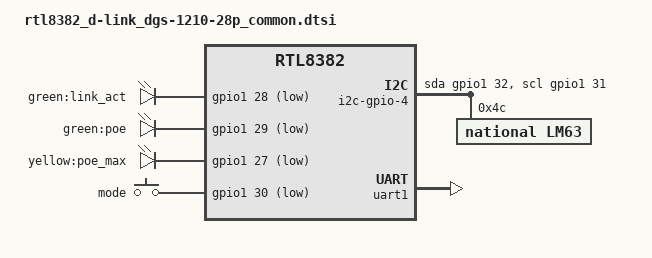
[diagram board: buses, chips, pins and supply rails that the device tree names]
// SPDX-License-Identifier: GPL-2.0-or-later OR MIT

/ {
	/* LM63 */
	i2c-gpio-4 {
		compatible = "i2c-gpio";
		sda-gpios = <&gpio1 32 (GPIO_ACTIVE_HIGH | GPIO_OPEN_DRAIN)>;
		scl-gpios = <&gpio1 31 GPIO_ACTIVE_HIGH>;
		i2c-gpio,delay-us = <2>;
		i2c-gpio,scl-open-drain; /* should be replaced by i2c-gpio,scl-has-no-pullup in kernel 6.6 */
		#address-cells = <1>;
		#size-cells = <0>;

		lm63@4c {
			compatible = "national,lm63";
			reg = <0x4c>;
		};
	};
};

&leds {
	link_act {
		label = "green:link_act";
		gpios = <&gpio1 28 GPIO_ACTIVE_LOW>;
	};

	poe {
		label = "green:poe";
		gpios = <&gpio1 29 GPIO_ACTIVE_LOW>;
	};

	poe_max {
		label = "yellow:poe_max";
		gpios = <&gpio1 27 GPIO_ACTIVE_LOW>;
	};
};

&keys {
	mode {
		label = "mode";
		gpios = <&gpio1 30 GPIO_ACTIVE_LOW>;
		linux,code = <BTN_0>;
	};
};

&uart1 {
	status = "okay";
};
